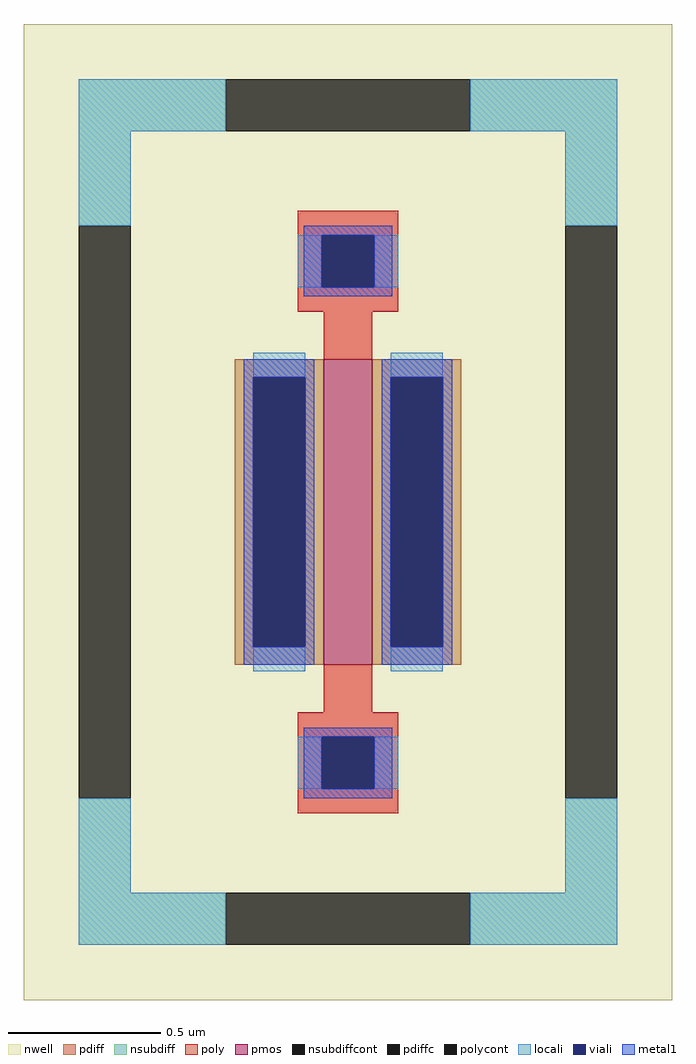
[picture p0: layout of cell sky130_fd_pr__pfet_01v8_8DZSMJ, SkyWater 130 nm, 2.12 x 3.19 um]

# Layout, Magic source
magic
tech sky130A
magscale 1 2
<< nwell >>
rect -212 -319 212 319
<< pmos >>
rect -16 -100 16 100
<< pdiff >>
rect -74 88 -16 100
rect -74 -88 -62 88
rect -28 -88 -16 88
rect -74 -100 -16 -88
rect 16 88 74 100
rect 16 -88 28 88
rect 62 -88 74 88
rect 16 -100 74 -88
<< pdiffc >>
rect -62 -88 -28 88
rect 28 -88 62 88
<< nsubdiff >>
rect -176 249 -80 283
rect 80 249 176 283
rect -176 187 -142 249
rect 142 187 176 249
rect -176 -249 -142 -187
rect 142 -249 176 -187
rect -176 -283 -80 -249
rect 80 -283 176 -249
<< nsubdiffcont >>
rect -80 249 80 283
rect -176 -187 -142 187
rect 142 -187 176 187
rect -80 -283 80 -249
<< poly >>
rect -33 181 33 197
rect -33 147 -17 181
rect 17 147 33 181
rect -33 131 33 147
rect -16 100 16 131
rect -16 -131 16 -100
rect -33 -147 33 -131
rect -33 -181 -17 -147
rect 17 -181 33 -147
rect -33 -197 33 -181
<< polycont >>
rect -17 147 17 181
rect -17 -181 17 -147
<< locali >>
rect -176 249 -80 283
rect 80 249 176 283
rect -176 187 -142 249
rect 142 187 176 249
rect -33 147 -17 181
rect 17 147 33 181
rect -62 88 -28 104
rect -62 -104 -28 -88
rect 28 88 62 104
rect 28 -104 62 -88
rect -33 -181 -17 -147
rect 17 -181 33 -147
rect -176 -249 -142 -187
rect 142 -249 176 -187
rect -176 -283 -80 -249
rect 80 -283 176 -249
<< viali >>
rect -17 147 17 181
rect -62 -88 -28 88
rect 28 -88 62 88
rect -17 -181 17 -147
<< metal1 >>
rect -29 181 29 187
rect -29 147 -17 181
rect 17 147 29 181
rect -29 141 29 147
rect -68 88 -22 100
rect -68 -88 -62 88
rect -28 -88 -22 88
rect -68 -100 -22 -88
rect 22 88 68 100
rect 22 -88 28 88
rect 62 -88 68 88
rect 22 -100 68 -88
rect -29 -147 29 -141
rect -29 -181 -17 -147
rect 17 -181 29 -147
rect -29 -187 29 -181
<< properties >>
string FIXED_BBOX -159 -266 159 266
string gencell sky130_fd_pr__pfet_01v8
string library sky130
string parameters w 1.0 l 0.155 m 1 nf 1 diffcov 100 polycov 100 guard 1 glc 1 grc 1 gtc 1 gbc 1 tbcov 100 rlcov 100 topc 1 botc 1 poverlap 0 doverlap 1 lmin 0.15 wmin 0.42 compatible {sky130_fd_pr__pfet_01v8  sky130_fd_pr__pfet_01v8_lvt sky130_fd_pr__pfet_01v8_hvt  sky130_fd_pr__pfet_g5v0d10v5} full_metal 1 viasrc 100 viadrn 100 viagate 100 viagb 0 viagr 0 viagl 0 viagt 0
<< end >>
